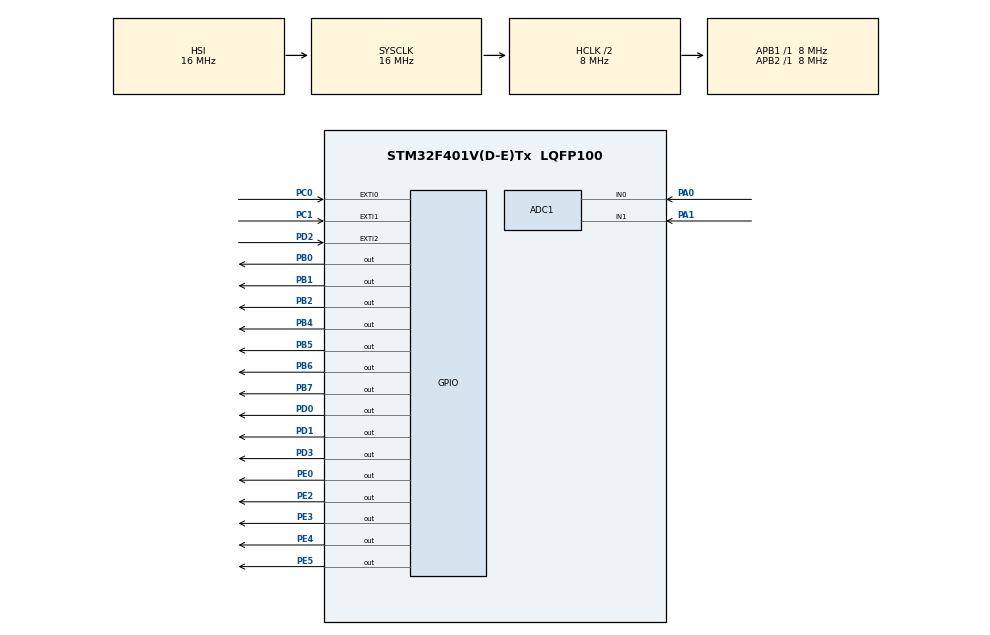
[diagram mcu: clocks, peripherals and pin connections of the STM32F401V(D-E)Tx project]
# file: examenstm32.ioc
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ADC1.Channel-0\#ChannelRegularConversion=ADC_CHANNEL_0
ADC1.NbrOfConversionFlag=1
ADC1.Rank-0\#ChannelRegularConversion=1
ADC1.SamplingTime-0\#ChannelRegularConversion=ADC_SAMPLETIME_3CYCLES
ADC1.master=1
Mcu.Family=STM32F4
Mcu.Name=STM32F401V(D-E)Tx
Mcu.Package=LQFP100
NVIC.PriorityGroup=NVIC_PRIORITYGROUP_4
PA0-WKUP.Signal=ADCx_IN0
PA1.Signal=ADCx_IN1
PA8.Signal=S_TIM1_CH1
PB0.Signal=GPIO_Output
PB1.Signal=GPIO_Output
PB2.Signal=GPIO_Output
PB4.Signal=GPIO_Output
PB5.Signal=GPIO_Output
PB6.Signal=GPIO_Output
PB7.Signal=GPIO_Output
PC0.Signal=GPXTI0
PC1.Signal=GPXTI1
PD0.Signal=GPIO_Output
PD1.Signal=GPIO_Output
PD2.Signal=GPXTI2
PD3.Signal=GPIO_Output
PE0.Signal=GPIO_Output
PE2.Signal=GPIO_Output
PE3.Signal=GPIO_Output
PE4.Signal=GPIO_Output
PE5.Signal=GPIO_Output
PH0\ -\ OSC_IN.Signal=RCC_OSC_IN
ProjectManager.HeapSize=0x200
ProjectManager.StackSize=0x400
ProjectManager.TargetToolchain=MDK-ARM V5
RCC.AHBCLKDivider=RCC_SYSCLK_DIV2
RCC.AHBFreq_Value=8000000
RCC.APB1Freq_Value=8000000
RCC.APB1TimFreq_Value=8000000
RCC.APB2Freq_Value=8000000
RCC.APB2TimFreq_Value=8000000
RCC.CortexFreq_Value=8000000
RCC.HCLKFreq_Value=8000000
RCC.HSE_VALUE=25000000
RCC.HSI_VALUE=16000000
RCC.LSE_VALUE=32768
RCC.SYSCLKFreq_VALUE=16000000
RCC.VCOOutputFreq_Value=192000000
SH.ADCx_IN0.0=ADC1_IN0,IN0
SH.ADCx_IN1.0=ADC1_IN1,IN1
SH.S_TIM1_CH1.0=TIM1_CH1
board=custom

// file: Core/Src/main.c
/* USER CODE BEGIN Header */
/**
  ******************************************************************************
  * @file           : main.c
  * @brief          : Main program body
  ******************************************************************************
  * @attention
  *
  * Copyright (c) 2026 STMicroelectronics.
  * All rights reserved.
  *
  * This software is licensed under terms that can be found in the LICENSE file
  * in the root directory of this software component.
  * If no LICENSE file comes with this software, it is provided AS-IS.
  *
  ******************************************************************************
  */
/* USER CODE END Header */
#include "main.h"
#include <stdio.h>
#include "temperature.h"
#include "fan.h"

ADC_HandleTypeDef hadc1;

void SystemClock_Config(void);
static void MX_GPIO_Init(void);
static void MX_ADC1_Init(void);

#define LDR_THRESHOLD 2000   // а ajuster selon ton capteur

#define LAMP1_PIN GPIO_PIN_4
#define LAMP2_PIN GPIO_PIN_5
#define LAMP_PORT GPIOE
/* USER CODE BEGIN 0 */
#define LCD_RS GPIO_PIN_0
#define LCD_E  GPIO_PIN_1
#define LCD_D4 GPIO_PIN_4
#define LCD_D5 GPIO_PIN_5
#define LCD_D6 GPIO_PIN_6
#define LCD_D7 GPIO_PIN_7
#define LCD_PORT GPIOB

void LCD_Enable(void)
{
  HAL_GPIO_WritePin(LCD_PORT, LCD_E, GPIO_PIN_SET);
  HAL_Delay(1);
  HAL_GPIO_WritePin(LCD_PORT, LCD_E, GPIO_PIN_RESET);
  HAL_Delay(1);
}

void LCD_Send4Bit(uint8_t data)
{
  HAL_GPIO_WritePin(LCD_PORT, LCD_D4, (data & 0x01) ? GPIO_PIN_SET : GPIO_PIN_RESET);
  HAL_GPIO_WritePin(LCD_PORT, LCD_D5, (data & 0x02) ? GPIO_PIN_SET : GPIO_PIN_RESET);
  HAL_GPIO_WritePin(LCD_PORT, LCD_D6, (data & 0x04) ? GPIO_PIN_SET : GPIO_PIN_RESET);
  HAL_GPIO_WritePin(LCD_PORT, LCD_D7, (data & 0x08) ? GPIO_PIN_SET : GPIO_PIN_RESET);

  LCD_Enable();
}

void LCD_Command(uint8_t cmd)
{
  HAL_GPIO_WritePin(LCD_PORT, LCD_RS, GPIO_PIN_RESET);

  LCD_Send4Bit(cmd >> 4);
  LCD_Send4Bit(cmd & 0x0F);

  HAL_Delay(2);
}

void LCD_Char(char data)
{
  HAL_GPIO_WritePin(LCD_PORT, LCD_RS, GPIO_PIN_SET);

  LCD_Send4Bit(data >> 4);
  LCD_Send4Bit(data & 0x0F);

  HAL_Delay(2);
}

void LCD_String(char *str)
{
  while(*str)
  {
    LCD_Char(*str++);
  }
}

void LCD_Clear(void)
{
  LCD_Command(0x01);
  HAL_Delay(2);
}

void LCD_SetCursor(uint8_t row, uint8_t col)
{
  uint8_t address;

  if(row == 0)
    address = 0x80 + col;
  else
    address = 0xC0 + col;

  LCD_Command(address);
}

void LCD_Init(void)
{
  HAL_Delay(50);

  HAL_GPIO_WritePin(LCD_PORT, LCD_RS, GPIO_PIN_RESET);
  HAL_GPIO_WritePin(LCD_PORT, LCD_E, GPIO_PIN_RESET);

  LCD_Send4Bit(0x03);
  HAL_Delay(5);
  LCD_Send4Bit(0x03);
  HAL_Delay(5);
  LCD_Send4Bit(0x03);
  HAL_Delay(5);
  LCD_Send4Bit(0x02);

  LCD_Command(0x28);
  LCD_Command(0x0C);
  LCD_Command(0x06);
  LCD_Command(0x01);

  HAL_Delay(5);
}
void LCD_Number(int num)
{
    char buffer[16];

    sprintf(buffer, "%d", num);

    LCD_String(buffer);
}
/* USER CODE END 0 */
uint32_t LDR_Read(ADC_HandleTypeDef *hadc)
{
    uint32_t value = 0;

    HAL_ADC_Start(hadc);
    if (HAL_ADC_PollForConversion(hadc, 10) == HAL_OK)
    {
        value = HAL_ADC_GetValue(hadc);
    }
    HAL_ADC_Stop(hadc);

    return value;
}
uint32_t ADC_ReadChannel(uint32_t channel)
{
    ADC_ChannelConfTypeDef sConfig = {0};

    sConfig.Channel = channel;
    sConfig.Rank = 1;
    sConfig.SamplingTime = ADC_SAMPLETIME_3CYCLES;

    HAL_ADC_ConfigChannel(&hadc1, &sConfig);

    HAL_ADC_Start(&hadc1);
    HAL_ADC_PollForConversion(&hadc1, 10);

    uint32_t value = HAL_ADC_GetValue(&hadc1);

    HAL_ADC_Stop(&hadc1);

    return value;
}
int main(void)
{

  /* MCU Configuration--------------------------------------------------------*/

  /* Reset of all peripherals, Initializes the Flash interface and the Systick. */
  HAL_Init();

  /* Configure the system clock */
  SystemClock_Config();

  /* Initialize all configured peripherals */
  MX_GPIO_Init();
  MX_ADC1_Init();
  /* USER CODE BEGIN 2 */
int nb_personnes = 0;
uint32_t fan_timer_tick = 0;
uint8_t  fan_on_pause   = 0;

HAL_Delay(100);  // Give the LCD 50ms to boot up
LCD_Init();
Fan_Init();
LCD_Command(0x01);
LCD_String("System Ready");
  /* USER CODE END 2 */

  /* Infinite loop */
  /* USER CODE BEGIN WHILE */

uint32_t last_temp_tick = 0;
  while (1){
// ===== TEMPERATURE CHECK (every 5 seconds) =====
if (HAL_GetTick() - last_temp_tick >= 5000)
{
    last_temp_tick = HAL_GetTick();
    if (nb_personnes < 8)
    {
				float temp = Temperature_Read(&hadc1);
        // Save state before AutoControl to detect when fan just turned ON
        FanState prev = Fan_GetState();
        Fan_AutoControl(temp);
        if (prev == FAN_OFF && Fan_GetState() == FAN_ON)
        {
            fan_timer_tick = HAL_GetTick();   // start 3s run timer
            fan_on_pause   = 0;
        }

        Temperature_Display(temp);
        HAL_Delay(2000);
        LCD_Clear();
        LCD_SetCursor(0, 0);
        LCD_String("System Ready");
    }
}

// ================= MINUTERIE VENTILATEUR =================
if (Fan_GetState() == FAN_ON && !fan_on_pause)
{
    if (HAL_GetTick() - fan_timer_tick >= 3000)   // 3s = 30min
    {
        Fan_TurnOff();
        fan_on_pause   = 1;
        fan_timer_tick = HAL_GetTick();            // start pause timer
    }
}
if (fan_on_pause)
{
    if (HAL_GetTick() - fan_timer_tick >= 1000)   // 1s = 10min
    {
        fan_on_pause   = 0;
        Fan_TurnOn();
        fan_timer_tick = HAL_GetTick();            // restart run timer
    }
}

		// PC0 -> GREEN LED PE2
		  // PC2 -> Bouton Alerte
  if(HAL_GPIO_ReadPin(GPIOC, GPIO_PIN_2) == GPIO_PIN_SET)
  {

      // Tant que le bouton reste appuye
      while(HAL_GPIO_ReadPin(GPIOC, GPIO_PIN_2) == GPIO_PIN_SET)
      {
          // Buzzer ON
          HAL_GPIO_WritePin(GPIOE, GPIO_PIN_0, GPIO_PIN_SET);

          LCD_Clear();
          LCD_SetCursor(0,0);
          LCD_String("ALERTE ACTIVE");

          HAL_Delay(300);

          // Buzzer OFF
          HAL_GPIO_WritePin(GPIOE, GPIO_PIN_0, GPIO_PIN_RESET);

          HAL_Delay(300);
      }

      HAL_Delay(200);
  }

  // ================= ENTREE =================
  // PC0 -> GREEN LED PE2
  if(HAL_GPIO_ReadPin(GPIOC, GPIO_PIN_0) == GPIO_PIN_SET)
  {
      if(nb_personnes < 8)
      {
          nb_personnes++;

          // GREEN LED ON
          HAL_GPIO_WritePin(GPIOE, GPIO_PIN_2, GPIO_PIN_SET);

          LCD_Clear();
          LCD_SetCursor(0, 0);
          LCD_String("Personnes:");
          LCD_SetCursor(1, 0);
          LCD_Number(nb_personnes);

          HAL_Delay(3000);

          // GREEN LED OFF
          HAL_GPIO_WritePin(GPIOE, GPIO_PIN_2, GPIO_PIN_RESET);
      }

      while(HAL_GPIO_ReadPin(GPIOC, GPIO_PIN_0) == GPIO_PIN_SET);
      HAL_Delay(200);
  }

  // ================= SORTIE =================
  // PC1 -> RED LED PE3
  if(HAL_GPIO_ReadPin(GPIOC, GPIO_PIN_1) == GPIO_PIN_SET)
  {
      if(nb_personnes > 0)
      {
          nb_personnes--;
      }

      // RED LED ON
      HAL_GPIO_WritePin(GPIOE, GPIO_PIN_3, GPIO_PIN_SET);

      LCD_Clear();
      LCD_SetCursor(0, 0);
      LCD_String("Personnes:");
      LCD_SetCursor(1, 0);
      LCD_Number(nb_personnes);

      HAL_Delay(3000);

      // RED LED OFF
      HAL_GPIO_WritePin(GPIOE, GPIO_PIN_3, GPIO_PIN_RESET);

      while(HAL_GPIO_ReadPin(GPIOC, GPIO_PIN_1) == GPIO_PIN_SET);
      HAL_Delay(200);
  }
// ================= LUMIERE (LDR CONTROL) =================
// ================= LUMIERE (LDR CONTROL) =================
uint32_t ldr_value = ADC_ReadChannel(ADC_CHANNEL_1); // PA1

if (ldr_value < 2000)
{
    // 2 lampes ON
    HAL_GPIO_WritePin(LAMP_PORT, LAMP1_PIN | LAMP2_PIN, GPIO_PIN_SET);

    LCD_SetCursor(0,0);
    LCD_String("Lumiere FAIBLE ");
    LCD_SetCursor(1,0);
    LCD_String("2 Lampes ON    ");
}
else if (ldr_value >= 2000 && ldr_value < 3000)
{
    // 1 lampe ON
    HAL_GPIO_WritePin(LAMP_PORT, LAMP1_PIN, GPIO_PIN_SET);
    HAL_GPIO_WritePin(LAMP_PORT, LAMP2_PIN, GPIO_PIN_RESET);

    LCD_SetCursor(0,0);
    LCD_String("Lumiere MOYENNE");
    LCD_SetCursor(1,0);
    LCD_String("1 Lampe ON     ");
}
else
{
    // 2 lampes OFF
    HAL_GPIO_WritePin(LAMP_PORT, LAMP1_PIN | LAMP2_PIN, GPIO_PIN_RESET);

    LCD_SetCursor(0,0);
    LCD_String("Lumiere FORTE  ");
    LCD_SetCursor(1,0);
    LCD_String("Lampes OFF     ");
}

  // ================= SALLE COMPLETE =================
  if(nb_personnes >= 8)
  {
      LCD_Clear();
      LCD_SetCursor(0,0);
      LCD_String("Salle Complete");

      HAL_Delay(1000);
  }
}}

void SystemClock_Config(void)
{
  RCC_OscInitTypeDef RCC_OscInitStruct = {0};
  RCC_ClkInitTypeDef RCC_ClkInitStruct = {0};

  /** Configure the main internal regulator output voltage
  */
  __HAL_RCC_PWR_CLK_ENABLE();
  __HAL_PWR_VOLTAGESCALING_CONFIG(PWR_REGULATOR_VOLTAGE_SCALE2);

  /** Initializes the RCC Oscillators according to the specified parameters
  * in the RCC_OscInitTypeDef structure.
  */
  RCC_OscInitStruct.OscillatorType = RCC_OSCILLATORTYPE_HSI;
  RCC_OscInitStruct.HSIState = RCC_HSI_ON;
  RCC_OscInitStruct.HSICalibrationValue = RCC_HSICALIBRATION_DEFAULT;
  RCC_OscInitStruct.PLL.PLLState = RCC_PLL_NONE;
  if (HAL_RCC_OscConfig(&RCC_OscInitStruct) != HAL_OK)
  {
    Error_Handler();
  }

  /** Initializes the CPU, AHB and APB buses clocks
  */
  RCC_ClkInitStruct.ClockType = RCC_CLOCKTYPE_HCLK|RCC_CLOCKTYPE_SYSCLK
                              |RCC_CLOCKTYPE_PCLK1|RCC_CLOCKTYPE_PCLK2;
  RCC_ClkInitStruct.SYSCLKSource = RCC_SYSCLKSOURCE_HSI;
  RCC_ClkInitStruct.AHBCLKDivider = RCC_SYSCLK_DIV2;
  RCC_ClkInitStruct.APB1CLKDivider = RCC_HCLK_DIV1;
  RCC_ClkInitStruct.APB2CLKDivider = RCC_HCLK_DIV1;

  if (HAL_RCC_ClockConfig(&RCC_ClkInitStruct, FLASH_LATENCY_0) != HAL_OK)
  {
    Error_Handler();
  }
}

static void MX_ADC1_Init(void)
{

  ADC_ChannelConfTypeDef sConfig = {0};

  /** Configure the global features of the ADC (Clock, Resolution, Data Alignment and number of conversion)
  */
  hadc1.Instance = ADC1;
  hadc1.Init.ClockPrescaler = ADC_CLOCK_SYNC_PCLK_DIV2;
  hadc1.Init.Resolution = ADC_RESOLUTION_12B;
  hadc1.Init.ScanConvMode = DISABLE;
  hadc1.Init.ContinuousConvMode = DISABLE;
  hadc1.Init.DiscontinuousConvMode = DISABLE;
  hadc1.Init.ExternalTrigConvEdge = ADC_EXTERNALTRIGCONVEDGE_NONE;
  hadc1.Init.ExternalTrigConv = ADC_SOFTWARE_START;
  hadc1.Init.DataAlign = ADC_DATAALIGN_RIGHT;
  hadc1.Init.NbrOfConversion = 1;
  hadc1.Init.DMAContinuousRequests = DISABLE;
  hadc1.Init.EOCSelection = ADC_EOC_SINGLE_CONV;
  if (HAL_ADC_Init(&hadc1) != HAL_OK)
  {
    Error_Handler();
  }

  /** Configure for the selected ADC regular channel its corresponding rank in the sequencer and its sample time.
  */
  sConfig.Channel = ADC_CHANNEL_0;
  sConfig.Rank = 1;
  sConfig.SamplingTime = ADC_SAMPLETIME_3CYCLES;
  if (HAL_ADC_ConfigChannel(&hadc1, &sConfig) != HAL_OK)
  {
    Error_Handler();
  }

}

static void MX_GPIO_Init(void)
{
  GPIO_InitTypeDef GPIO_InitStruct = {0};

  /* GPIO Ports Clock Enable */
  __HAL_RCC_GPIOE_CLK_ENABLE();
  __HAL_RCC_GPIOH_CLK_ENABLE();
  __HAL_RCC_GPIOC_CLK_ENABLE();
  __HAL_RCC_GPIOA_CLK_ENABLE();
  __HAL_RCC_GPIOB_CLK_ENABLE();
  __HAL_RCC_GPIOD_CLK_ENABLE();

  /*Configure GPIO pin Output Level */
  HAL_GPIO_WritePin(GPIOE, GPIO_PIN_2|GPIO_PIN_3|GPIO_PIN_4|GPIO_PIN_5
                          |GPIO_PIN_0, GPIO_PIN_RESET);

  /*Configure GPIO pin Output Level */
  HAL_GPIO_WritePin(GPIOB, GPIO_PIN_0|GPIO_PIN_1|GPIO_PIN_2|GPIO_PIN_4
                          |GPIO_PIN_5|GPIO_PIN_6|GPIO_PIN_7, GPIO_PIN_RESET);

  /*Configure GPIO pin Output Level */
  HAL_GPIO_WritePin(GPIOD, GPIO_PIN_0|GPIO_PIN_1|GPIO_PIN_3, GPIO_PIN_RESET);

  /*Configure GPIO pins : PE2 PE3 PE4 PE5
                           PE0 */
  GPIO_InitStruct.Pin = GPIO_PIN_2|GPIO_PIN_3|GPIO_PIN_4|GPIO_PIN_5
                          |GPIO_PIN_0;
  GPIO_InitStruct.Mode = GPIO_MODE_OUTPUT_PP;
  GPIO_InitStruct.Pull = GPIO_NOPULL;
  GPIO_InitStruct.Speed = GPIO_SPEED_FREQ_LOW;
  HAL_GPIO_Init(GPIOE, &GPIO_InitStruct);

  /*Configure GPIO pins : PC0 PC1 */
  GPIO_InitStruct.Pin = GPIO_PIN_0|GPIO_PIN_1;
  GPIO_InitStruct.Mode = GPIO_MODE_IT_RISING;
  GPIO_InitStruct.Pull = GPIO_NOPULL;
  HAL_GPIO_Init(GPIOC, &GPIO_InitStruct);

  /*Configure GPIO pins : PB0 PB1 PB2 PB4
                           PB5 PB6 PB7 */
  GPIO_InitStruct.Pin = GPIO_PIN_0|GPIO_PIN_1|GPIO_PIN_2|GPIO_PIN_4
                          |GPIO_PIN_5|GPIO_PIN_6|GPIO_PIN_7;
  GPIO_InitStruct.Mode = GPIO_MODE_OUTPUT_PP;
  GPIO_InitStruct.Pull = GPIO_NOPULL;
  GPIO_InitStruct.Speed = GPIO_SPEED_FREQ_LOW;
  HAL_GPIO_Init(GPIOB, &GPIO_InitStruct);

  /*Configure GPIO pin : PA8 */
  GPIO_InitStruct.Pin = GPIO_PIN_8;
  GPIO_InitStruct.Mode = GPIO_MODE_AF_PP;
  GPIO_InitStruct.Pull = GPIO_NOPULL;
  GPIO_InitStruct.Speed = GPIO_SPEED_FREQ_LOW;
  GPIO_InitStruct.Alternate = GPIO_AF1_TIM1;
  HAL_GPIO_Init(GPIOA, &GPIO_InitStruct);

  /*Configure GPIO pins : PD0 PD1 PD3 */
  GPIO_InitStruct.Pin = GPIO_PIN_0|GPIO_PIN_1|GPIO_PIN_3;
  GPIO_InitStruct.Mode = GPIO_MODE_OUTPUT_PP;
  GPIO_InitStruct.Pull = GPIO_NOPULL;
  GPIO_InitStruct.Speed = GPIO_SPEED_FREQ_LOW;
  HAL_GPIO_Init(GPIOD, &GPIO_InitStruct);

  /*Configure GPIO pin : PD2 */
  GPIO_InitStruct.Pin = GPIO_PIN_2;
  GPIO_InitStruct.Mode = GPIO_MODE_IT_RISING;
  GPIO_InitStruct.Pull = GPIO_NOPULL;
  HAL_GPIO_Init(GPIOD, &GPIO_InitStruct);

}

void Error_Handler(void)
{
  __disable_irq();
  while (1)
  {
  }
}
